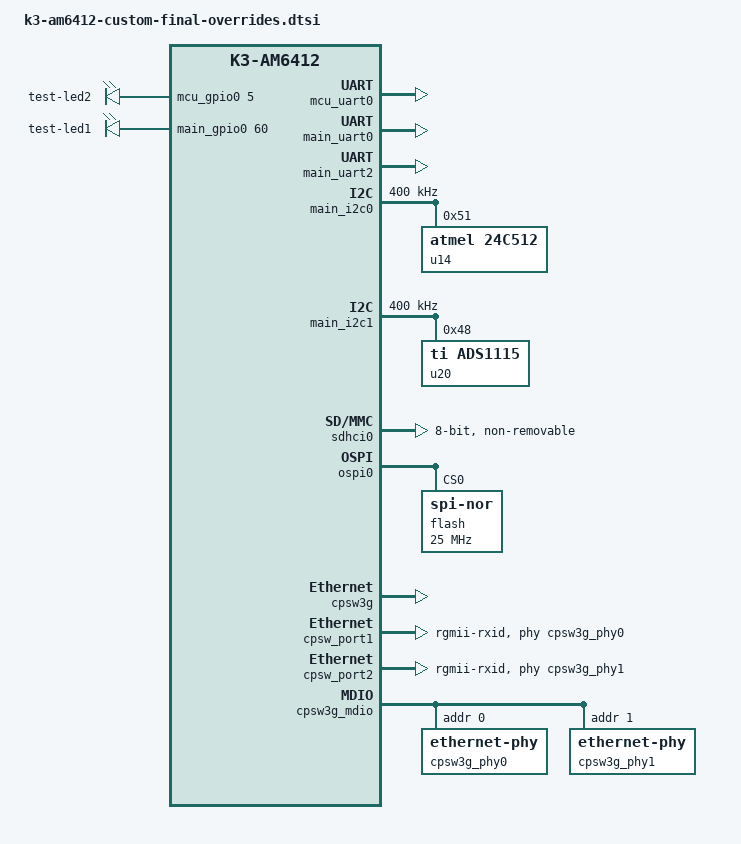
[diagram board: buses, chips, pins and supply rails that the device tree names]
/* Root-managed final integration overrides for CPU_BRD_V03_PBA_260511. */
/* Derived from workflow final and selected as bringup-default build set. */

/ {
	led-controller {
		compatible = "gpio-leds";

		test-led2 {
			gpios = <&mcu_gpio0 5 GPIO_ACTIVE_HIGH>;
			default-state = "off";
		};

		test-led1 {
			gpios = <&main_gpio0 60 GPIO_ACTIVE_HIGH>;
			default-state = "off";
		};
	};
};

&main_pmx0 {
	main_usb0_pins_default: main-usb0-default-pins {
		pinctrl-single,pins = <
			AM64X_IOPAD(0x02a8, PIN_OUTPUT, 0) /* (E19) USB0_DRVVBUS */
		>;
	};

	main_uart2_rx_pins_fixup: main-uart2-rx-pins-fixup {
		pinctrl-single,pins = <
			AM64X_IOPAD(0x0184, PIN_INPUT, 10) /* (W6) PRG0_PRU0_GPO9.UART2_RXD */
		>;
	};

	mdio1_pins_default: mdio1-default-pins {
		pinctrl-single,pins = <
			AM64X_IOPAD(0x01fc, PIN_OUTPUT, 4) /* (R2) PRG0_PRU1_GPO19.MDIO0_MDC */
			AM64X_IOPAD(0x01f8, PIN_INPUT, 4) /* (P5) PRG0_PRU1_GPO18.MDIO0_MDIO */
		>;
	};

	rgmii1_pins_default: rgmii1-default-pins {
		pinctrl-single,pins = <
			AM64X_IOPAD(0x011c, PIN_INPUT, 4) /* (AA13) PRG1_PRU1_GPO5.RGMII1_RD0 */
			AM64X_IOPAD(0x0128, PIN_INPUT, 4) /* (U12) PRG1_PRU1_GPO8.RGMII1_RD1 */
			AM64X_IOPAD(0x0150, PIN_INPUT, 4) /* (Y13) PRG1_PRU1_GPO18.RGMII1_RD2 */
			AM64X_IOPAD(0x0154, PIN_INPUT, 4) /* (V12) PRG1_PRU1_GPO19.RGMII1_RD3 */
			AM64X_IOPAD(0x00d8, PIN_INPUT, 4) /* (W13) PRG1_PRU0_GPO8.RGMII1_RXC */
			AM64X_IOPAD(0x00cc, PIN_INPUT, 4) /* (V13) PRG1_PRU0_GPO5.RGMII1_RX_CTL */
			AM64X_IOPAD(0x0124, PIN_OUTPUT, 4) /* (V15) PRG1_PRU1_GPO7.RGMII1_TD0 */
			AM64X_IOPAD(0x012c, PIN_OUTPUT, 4) /* (V14) PRG1_PRU1_GPO9.RGMII1_TD1 */
			AM64X_IOPAD(0x0130, PIN_OUTPUT, 4) /* (W14) PRG1_PRU1_GPO10.RGMII1_TD2 */
			AM64X_IOPAD(0x014c, PIN_OUTPUT, 4) /* (AA14) PRG1_PRU1_GPO17.RGMII1_TD3 */
			AM64X_IOPAD(0x00e0, PIN_OUTPUT, 4) /* (U14) PRG1_PRU0_GPO10.RGMII1_TXC */
			AM64X_IOPAD(0x00dc, PIN_OUTPUT, 4) /* (U15) PRG1_PRU0_GPO9.RGMII1_TX_CTL */
		>;
	};

	rgmii2_pins_default: rgmii2-default-pins {
		pinctrl-single,pins = <
			AM64X_IOPAD(0x0108, PIN_INPUT, 4) /* (W11) PRG1_PRU1_GPO0.RGMII2_RD0 */
			AM64X_IOPAD(0x010c, PIN_INPUT, 4) /* (V11) PRG1_PRU1_GPO1.RGMII2_RD1 */
			AM64X_IOPAD(0x0110, PIN_INPUT, 4) /* (AA12) PRG1_PRU1_GPO2.RGMII2_RD2 */
			AM64X_IOPAD(0x0114, PIN_INPUT, 4) /* (Y12) PRG1_PRU1_GPO3.RGMII2_RD3 */
			AM64X_IOPAD(0x0120, PIN_INPUT, 4) /* (U11) PRG1_PRU1_GPO6.RGMII2_RXC */
			AM64X_IOPAD(0x0118, PIN_INPUT, 4) /* (W12) PRG1_PRU1_GPO4.RGMII2_RX_CTL */
			AM64X_IOPAD(0x0134, PIN_OUTPUT, 4) /* (AA10) PRG1_PRU1_GPO11.RGMII2_TD0 */
			AM64X_IOPAD(0x0138, PIN_OUTPUT, 4) /* (V10) PRG1_PRU1_GPO12.RGMII2_TD1 */
			AM64X_IOPAD(0x013c, PIN_OUTPUT, 4) /* (U10) PRG1_PRU1_GPO13.RGMII2_TD2 */
			AM64X_IOPAD(0x0140, PIN_OUTPUT, 4) /* (AA11) PRG1_PRU1_GPO14.RGMII2_TD3 */
			AM64X_IOPAD(0x0148, PIN_OUTPUT, 4) /* (Y10) PRG1_PRU1_GPO16.RGMII2_TXC */
			AM64X_IOPAD(0x0144, PIN_OUTPUT, 4) /* (Y11) PRG1_PRU1_GPO15.RGMII2_TX_CTL */
		>;
	};
};

&main_gpio0 {
	status = "okay";
};

&mcu_gpio0 {
	status = "okay";
};

&mcu_uart0 {
	status = "okay";
	pinctrl-names = "default";
	pinctrl-0 = <&mcu_uart0_pins_default>;
};

&main_uart0 {
	status = "okay";
	pinctrl-names = "default";
	pinctrl-0 = <&main_uart0_pins_default>;
};

&main_uart2 {
	status = "okay";
	pinctrl-names = "default";
	pinctrl-0 = <&main_uart2_pins_default &main_uart2_rx_pins_fixup>;
	/* UART2 final candidate uses K19/UART2_TXD from MMC page and W6/UART2_RXD from PRG/debug netlist evidence. */
};

&main_i2c0 {
	status = "okay";
	pinctrl-names = "default";
	pinctrl-0 = <&main_i2c0_pins_default>;
	clock-frequency = <400000>;

	u14: u14@51 {
		compatible = "atmel,24c512";
		reg = <0x51>;
	};

	/* TODO: add pmic@30 after TPS6522053 Linux binding and regulator constraints are confirmed. */
};

&main_i2c1 {
	status = "okay";
	pinctrl-names = "default";
	pinctrl-0 = <&main_i2c1_pins_default>;
	clock-frequency = <400000>;

	u20: u20@48 {
		compatible = "ti,ads1115";
		reg = <0x48>;
	};

	/* TODO: U15 TPM is intentionally omitted until compatible string and production enable policy are confirmed. */
	/* TODO: U21 PI6ULS5V9509UEX address/role is still unresolved. */
};

&sdhci0 {
	status = "okay";
	bus-width = <8>;
	non-removable;
	/* TODO: add reset, vmmc/vqmmc, and driver-strength properties after power tree review. */
};

&sdhci1 {
	status = "disabled";
	/* Board decision: MMC1 SD 4-bit path is not used. */
};

&ospi0 {
	status = "okay";
	pinctrl-names = "default";
	pinctrl-0 = <&ospi0_pins_default>;

	flash@0 {
		compatible = "jedec,spi-nor";
		reg = <0x0>;
		spi-tx-bus-width = <1>;
		spi-rx-bus-width = <1>;
		spi-max-frequency = <25000000>;
		/* Initial safe profile: keep single SPI fallback until octal/DQS bring-up root cause is resolved. */
		/* TODO: confirm Macronix-specific timing, partitions, reset-gpios, interrupt-gpios, and later octal profile. */
	};
};

&cpsw3g {
	status = "okay";
	pinctrl-names = "default";
	pinctrl-0 = <&rgmii1_pins_default>, <&rgmii2_pins_default>;
};

&cpsw_port1 {
	status = "okay";
	phy-mode = "rgmii-rxid";
	phy-handle = <&cpsw3g_phy0>;
};

&cpsw_port2 {
	status = "okay";
	phy-mode = "rgmii-rxid";
	phy-handle = <&cpsw3g_phy1>;
};

&cpsw3g_mdio {
	status = "okay";
	pinctrl-names = "default";
	pinctrl-0 = <&mdio1_pins_default>;

	cpsw3g_phy0: ethernet-phy@0 {
		reg = <0>;
		ti,rx-internal-delay = <DP83867_RGMIIDCTL_2_00_NS>;
		ti,fifo-depth = <DP83867_PHYCR_FIFO_DEPTH_4_B_NIB>;
		/* TODO: map GPIO_CPSW1_RST and CPSW_RGMII1_INTn once GPIO provider path is finalized. */
	};

	cpsw3g_phy1: ethernet-phy@1 {
		reg = <1>;
		ti,rx-internal-delay = <DP83867_RGMIIDCTL_2_00_NS>;
		ti,fifo-depth = <DP83867_PHYCR_FIFO_DEPTH_4_B_NIB>;
		/* TODO: map GPIO_CPSW2_RST and CPSW_RGMII2_INTn once GPIO provider path is finalized. */
	};
};

&usbss0 {
	status = "disabled";
};

&usb0 {
	status = "disabled";
};

&serdes_ln_ctrl {
	status = "disabled";
};

&serdes_wiz0 {
	status = "disabled";
};

&serdes0 {
	status = "disabled";
};

&icssg0 {
	status = "disabled";
};

&icssg1 {
	status = "disabled";
};

&crypto {
	status = "disabled";
};

&main_r5fss0 {
	status = "disabled";
};

&main_r5fss0_core0 {
	status = "disabled";
};

&main_r5fss0_core1 {
	status = "disabled";
};

&main_r5fss1 {
	status = "disabled";
};

&main_r5fss1_core0 {
	status = "disabled";
};

&main_r5fss1_core1 {
	status = "disabled";
};

&mcu_m4fss {
	status = "disabled";
};

/* TODO: SERDES0 remains unresolved between PCIe/USB3/FPGA/VITA routing policies. */
